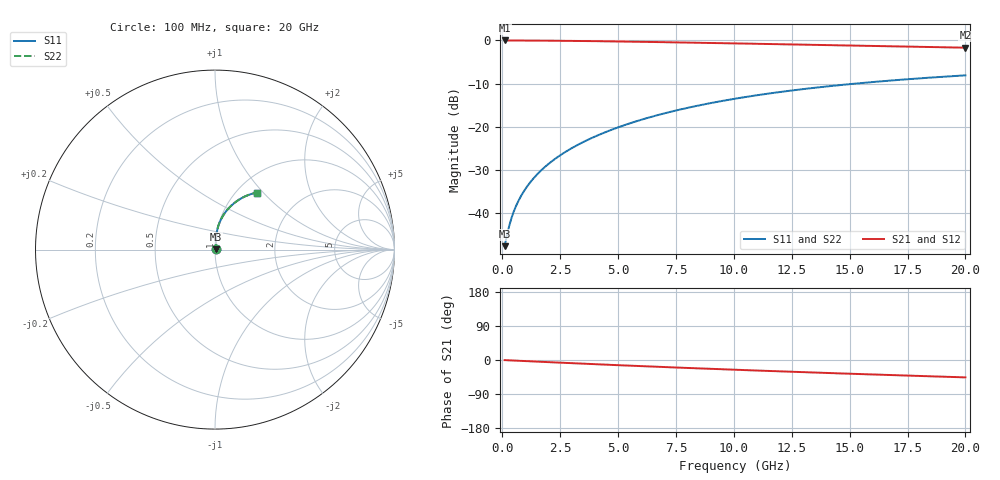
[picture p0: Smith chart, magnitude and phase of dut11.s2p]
! Touchstone file exported from HFSS 2024.1.0
!  File:  C:/UserFiles/LocalFiles/RDL_TSV_Batchsim/temp_RDL_bottom_11_1778691310.aedt
!  Generated:  12:57:48 AM May 14, 2026
!  Design:  RDL_bottom
!  Project:  temp_RDL_bottom_11_1778691310
!  Setup:  Setup1
!  Solution:  Sweep
! Variables:
!  dtsv = 10.80580581um
!  hbump = 3um
!  htsv = 93.51um
!  ldown = 623.66um
!  lrdl = 100um
!  p = 40
!  p1 = 59.02um
!  rhole = 1um
!  t = 450um
!  tdown = 2.48um
!  trdl = 3.915915916um
!  wdown = 26.91um
!  wrdl = 20um
# GHz S MA R 50.000000
! Terminal data exported
! Port[1] = RDL1_T1
! Port[2] = RDL1_T2
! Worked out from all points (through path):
!   200 points, 100 MHz to 20 GHz, reference 50 ohm
!   highest |S21| = -0.03 dB at 100 MHz (marker M1); lowest = -1.7 dB at 20 GHz (marker M2)
!   group delay of S21, straight-line fit = 6.31 ps
!   lowest |S11| = -47.6 dB at 100 MHz (marker M3), VSWR 1.01, Z = 50.4 + j0.208 ohm
!   |S11| at or under -10 dB: start of sweep to 15.26 GHz
!   |S22| runs from -47.6 to -8.1 dB; largest |S21 - S12| = 1e-14
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0.1  0.004174 29.7  0.9964 -0.3  0.9964 -0.3  0.004174 29.7
! Gamma 0 0 0 0
! Port Impedance 50 0 50 0
0.2  0.00555 47.3  0.9962 -0.6  0.9962 -0.6  0.00555 47.3
0.3  0.007182 56.7  0.9959 -0.9  0.9959 -0.9  0.007182 56.7
0.4  0.008871 62.4  0.9957 -1.2  0.9957 -1.2  0.008871 62.4
0.5  0.01057 66.3  0.9954 -1.5  0.9954 -1.5  0.01057 66.3
0.6  0.01227 69.2  0.9952 -1.7  0.9952 -1.7  0.01227 69.2
0.8  0.0157 73.3  0.9947 -2.3  0.9947 -2.3  0.0157 73.3
1.1  0.02094 77.2  0.9939 -3.1  0.9939 -3.1  0.02094 77.2
1.3  0.0245 79.0  0.9933 -3.7  0.9933 -3.7  0.0245 79.0
1.6  0.02994 80.9  0.9922 -4.5  0.9922 -4.5  0.02994 80.9
2.1  0.03924 82.9  0.9901 -5.9  0.9901 -5.9  0.03924 82.9
2.7  0.05078 84.2  0.9869 -7.6  0.9869 -7.6  0.05079 84.2
3.5  0.06681 84.8  0.9818 -9.7  0.9818 -9.7  0.06681 84.8
4.2  0.08138 84.8  0.9766 -11.6  0.9766 -11.6  0.08139 84.8
5  0.09858 84.2  0.97 -13.7  0.97 -13.7  0.09859 84.2
6.8  0.1387 81.6  0.9536 -18.2  0.9536 -18.2  0.1387 81.6
8.4  0.1748 78.5  0.938 -22.0  0.938 -22.0  0.1748 78.5
10.1  0.2125 74.8  0.9209 -25.8  0.9209 -25.8  0.2125 74.9
11.7  0.2466 71.3  0.9047 -29.3  0.9047 -29.3  0.2467 71.3
13.4  0.2811 67.5  0.8874 -32.9  0.8874 -32.9  0.2811 67.5
16.7  0.3416 60.4  0.8542 -39.6  0.8542 -39.6  0.3417 60.4
20  0.3935 53.8  0.8221 -45.8  0.8221 -45.8  0.3936 53.8
